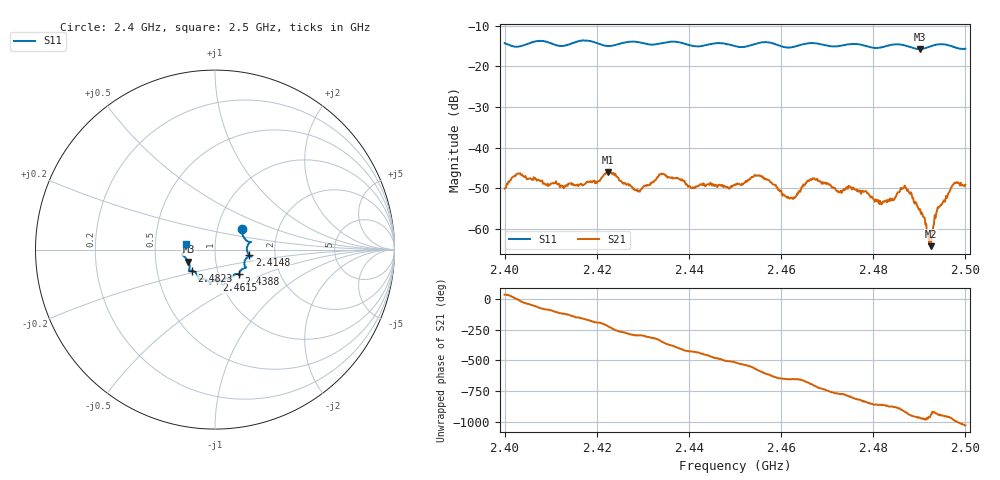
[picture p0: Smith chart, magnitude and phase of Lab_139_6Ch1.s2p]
# Hz S RI R 50
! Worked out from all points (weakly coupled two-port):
!   601 points, 2.4 GHz to 2.5 GHz, reference 50 ohm
!   highest |S21| = -45.99 dB at 2.4225 GHz (marker M1); lowest = -64.2 dB at 2.4925 GHz (marker M2)
!   lowest |S11| = -15.8 dB at 2.4902 GHz (marker M3), VSWR 1.39, Z = 36.8 - j5.06 ohm
!   |S11| at or under -10 dB: start of sweep to end of sweep
!   S12 and S22 are empty: the file has one direction only
!   S11 on the Smith chart (normalised r, x): 2.4 GHz: 1.31, +0.32; 2.4148 GHz: 1.47, -0.10; 2.4388 GHz: 1.25, -0.36; 2.4615 GHz: 0.97, -0.34; 2.4823 GHz: 0.75, -0.18; 2.5 GHz: 0.72, +0.04
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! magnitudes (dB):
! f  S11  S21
! 2.4 GHz  -14.3  -50.1
! 2.403 GHz  -15.2  -46.4
! 2.4093 GHz  -14.1  -48.9
! 2.4148 GHz  -14.3  -48.9
! 2.4167 GHz  -13.7  -48.9
! 2.4225 GHz  -15.0  -46.0
! 2.4288 GHz  -14.0  -50.4
! 2.4333 GHz  -14.5  -47.2
! 2.4388 GHz  -14.4  -48.2
! 2.4408 GHz  -15.0  -49.8
! 2.45 GHz  -15.1  -49.2
! 2.4553 GHz  -14.2  -46.8
! 2.4615 GHz  -15.4  -52.1
! 2.4667 GHz  -14.3  -47.9
! 2.4823 GHz  -15.2  -53.3
! 2.4833 GHz  -14.9  -53.2
! 2.487 GHz  -14.9  -49.8
! 2.4902 GHz  -15.8  -55.2
! 2.4925 GHz  -15.1  -64.2
! 2.4938 GHz  -14.7  -55.5
! 2.4972 GHz  -15.1  -49.3
! 2.5 GHz  -15.7  -49.2
